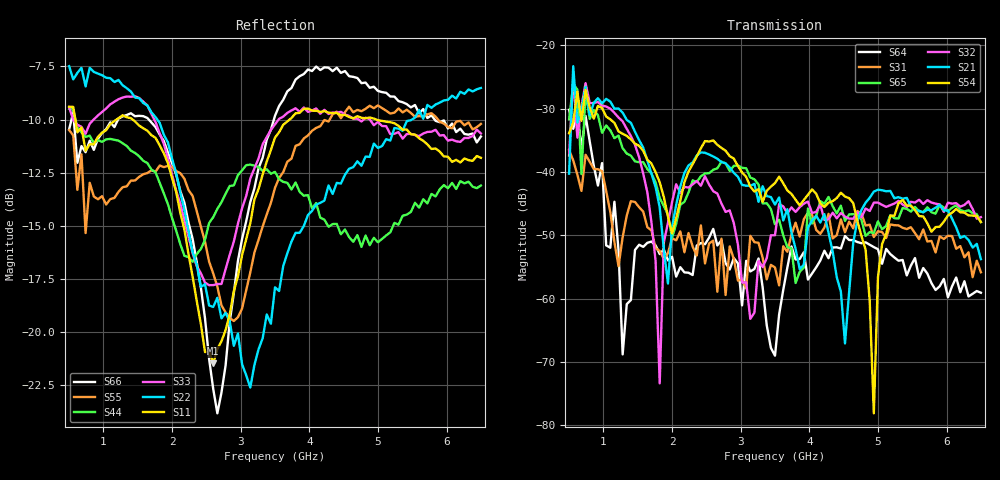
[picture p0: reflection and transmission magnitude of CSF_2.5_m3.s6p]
!Keysight Technologies,M9804A,MY58100912,A.14.10.03
!Date: Thursday, April 27, 2023 10:28:33
!Correction: S11(C  6-Port  )
!S12(C  6-Port  )
!S13(C  6-Port  )
!S14(C  6-Port  )
!S15(C  6-Port  )
!S16(C  6-Port  )
!S21(C  6-Port  )
!S22(C  6-Port  )
!S23(C  6-Port  )
!S24(C  6-Port  )
!S25(C  6-Port  )
!S26(C  6-Port  )
!S31(C  6-Port  )
!S32(C  6-Port  )
!S33(C  6-Port  )
!S34(C  6-Port  )
!S35(C  6-Port  )
!S36(C  6-Port  )
!S41(C  6-Port  )
!S42(C  6-Port  )
!S43(C  6-Port  )
!S44(C  6-Port  )
!S45(C  6-Port  )
!S46(C  6-Port  )
!S51(C  6-Port  )
!S52(C  6-Port  )
!S53(C  6-Port  )
!S54(C  6-Port  )
!S55(C  6-Port  )
!S56(C  6-Port  )
!S61(C  6-Port  )
!S62(C  6-Port  )
!S63(C  6-Port  )
!S64(C  6-Port  )
!S65(C  6-Port  )
!S66(C  6-Port  )
!S6P File: Measurement: :
# Hz S  RI  R 50
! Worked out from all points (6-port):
!   101 points, 500 MHz to 6.5 GHz, reference 50 ohm
!   strongest paths, dB at 500 MHz, 2 GHz, 3.5 GHz, 5 GHz, 6.5 GHz:
!     S54: -33.9, -49.7, -41.8, -56.7, -47.9
!     S21: -40.3, -48.8, -45.2, -42.8, -53.8
!     S32: -37.4, -44.8, -50.0, -44.8, -47.1
!     S65: -31.7, -50.4, -48.3, -47.8, -47.9
!     S31: -36.6, -50.5, -55.1, -49.4, -55.8
!     S64: -30.2, -53.4, -69.0, -52.2, -59.1
!   lowest |S11| = -21.5 dB at 2.6 GHz (marker M1), VSWR 1.18, Z = 42.5 + j2.19 ohm
!   |S11| at or under -10 dB: 589.7 MHz to 1.192 GHz (602.4 MHz wide, 67.6 % of centre); 1.425 GHz to 3.713 GHz (2.289 GHz wide, 89.1 % of centre); 4.975 GHz to end of sweep
